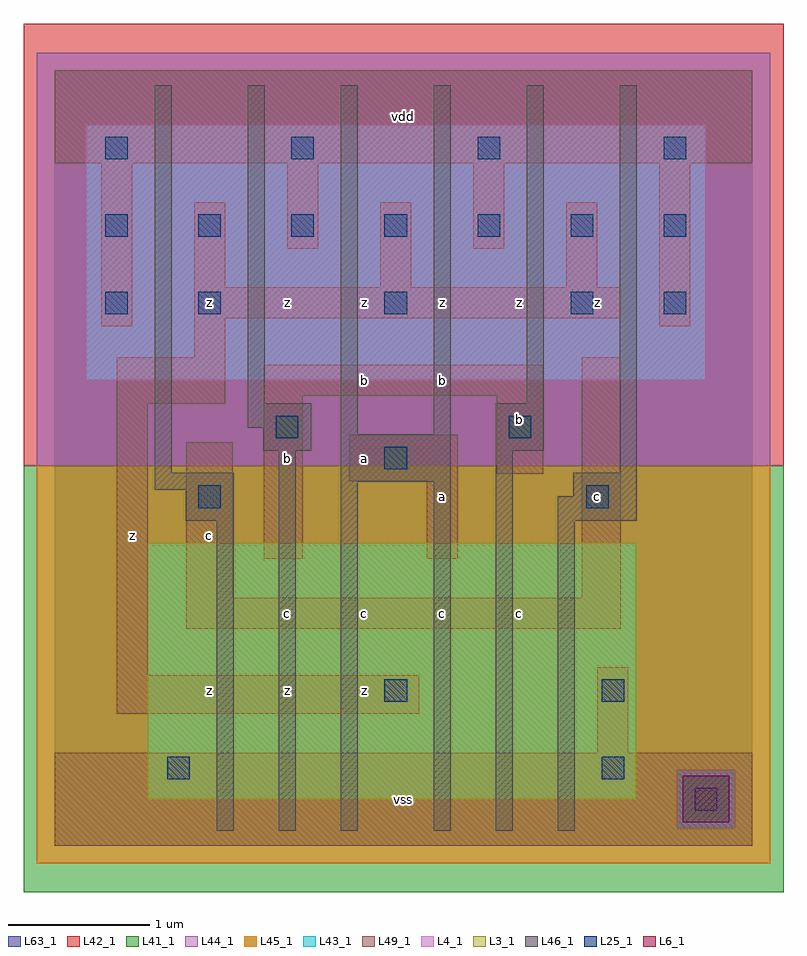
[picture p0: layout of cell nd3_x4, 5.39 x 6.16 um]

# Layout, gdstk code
import gdstk
lib = gdstk.Library(unit=1e-6, precision=1e-09)
def R(c, l, rs):  # rectangles x0, y0, x1, y1
    for r in rs: c.add(gdstk.rectangle(r[:2], r[2:], *l))
def A(c, l, x, y, w, h, nx, ny, dx, dy):  # array of equal rectangles
    R(c, l, [(x+i*dx, y+j*dy, x+i*dx+w, y+j*dy+h) for i in range(nx) for j in range(ny)])
L3_1 = (3, 1)
L4_1 = (4, 1)
L6_1 = (6, 1)
L25_1 = (25, 1)
L41_1 = (41, 1)
L42_1 = (42, 1)
L43_1 = (43, 1)
L44_1 = (44, 1)
L45_1 = (45, 1)
L46_1 = (46, 1)
L49_1 = (49, 1)
L63_1 = (63, 1)

nd3_x4 = lib.new_cell('nd3_x4')
R(nd3_x4, L3_1, [(0.66,0.33,4.125,2.145)])
R(nd3_x4, L4_1, [(0.22,3.3,4.62,5.115)])
R(nd3_x4, L6_1, [(4.455,0.165,4.785,0.495)])
A(nd3_x4, L25_1, 1.02, 3.77, 0.16, 0.16, 3, 1, 1.32, 0)
A(nd3_x4, L25_1, 0.36, 4.32, 0.16, 0.16, 7, 1, 0.66, 0)
A(nd3_x4, L25_1, 0.36, 4.87, 0.16, 0.16, 4, 1, 1.32, 0)
R(nd3_x4, L25_1, [(4.54,0.25,4.7,0.41), (0.8,0.47,0.96,0.63), (3.88,0.47,4.04,0.63), (2.34,1.02,2.5,1.18), (3.88,1.02,4.04,1.18), (1.02,2.395,1.18,2.555), (3.77,2.395,3.93,2.555), (2.34,2.67,2.5,2.83), (1.57,2.89,1.73,3.05), (3.22,2.89,3.38,3.05), (0.36,3.77,0.52,3.93), (4.32,3.77,4.48,3.93)])
R(nd3_x4, L41_1, [(-0.22,-0.33,5.17,2.695)])
R(nd3_x4, L42_1, [(-0.22,2.695,5.17,5.83)])
R(nd3_x4, L43_1, [(4.455,0.165,4.785,0.495), (0.66,0.33,4.125,2.145), (0.22,3.3,4.62,5.115)])
R(nd3_x4, L44_1, [(4.415,0.125,4.825,0.535), (-0.125,2.695,5.075,5.625)])
R(nd3_x4, L45_1, [(-0.125,-0.125,5.075,0.125), (-0.125,0.125,4.415,0.535), (4.825,0.125,5.075,0.535), (-0.125,0.535,5.075,2.695)])
R(nd3_x4, L46_1, [(1.15,0.105,1.27,2.305), (1.59,0.105,1.71,2.8), (2.03,0.105,2.15,2.58), (2.69,0.105,2.81,2.58), (3.13,0.105,3.25,2.8), (3.57,0.105,3.69,2.305), (0.93,2.305,1.27,2.525), (3.57,2.305,4.13,2.48), (3.68,2.48,4.13,2.645), (0.71,2.525,1.27,2.645), (2.03,2.58,2.81,2.92), (0.71,2.645,0.83,5.395), (4.01,2.645,4.13,5.395), (1.48,2.8,1.82,2.965), (3.13,2.8,3.47,3.14), (2.03,2.92,2.15,5.395), (2.69,2.92,2.81,5.395), (1.37,2.965,1.82,3.14), (1.37,3.14,1.49,5.395), (3.35,3.14,3.47,5.395)])
A(nd3_x4, L49_1, 0.99, 3.96, 0.22, 0.605, 3, 1, 1.32, 0)
R(nd3_x4, L49_1, [(0,0,4.95,0.66), (3.85,0.66,4.07,1.265), (0.44,0.935,2.585,1.21), (0.44,1.21,0.66,3.135), (0.935,1.54,4.015,1.76), (0.935,1.76,1.265,2.86), (3.74,1.76,4.015,3.465), (1.485,2.035,1.76,3.19), (2.64,2.035,2.86,2.585), (2.09,2.585,2.86,2.915), (3.135,2.64,3.465,3.19), (0.44,3.135,1.21,3.465), (1.485,3.19,3.465,3.41), (0.99,3.465,1.21,3.74), (0.33,3.685,0.55,4.84), (4.29,3.685,4.51,4.84), (0.99,3.74,4.015,3.96), (1.65,4.235,1.87,4.84), (2.97,4.235,3.19,4.84), (0,4.84,4.95,5.5)])
R(nd3_x4, L63_1, [(0,0,4.95,5.5)])
nd3_x4.add(gdstk.Label('z', (0.55,2.2), layer=49, texttype=1))
nd3_x4.add(gdstk.Label('z', (0.55,2.2), layer=49, texttype=1))
nd3_x4.add(gdstk.Label('z', (1.65,1.1), layer=49, texttype=1))
nd3_x4.add(gdstk.Label('z', (1.65,1.1), layer=49, texttype=1))
nd3_x4.add(gdstk.Label('z', (1.1,1.1), layer=49, texttype=1))
nd3_x4.add(gdstk.Label('z', (1.1,1.1), layer=49, texttype=1))
nd3_x4.add(gdstk.Label('c', (1.65,1.65), layer=49, texttype=1))
nd3_x4.add(gdstk.Label('c', (1.65,1.65), layer=49, texttype=1))
nd3_x4.add(gdstk.Label('c', (1.1,2.2), layer=49, texttype=1))
nd3_x4.add(gdstk.Label('c', (1.1,2.2), layer=49, texttype=1))
nd3_x4.add(gdstk.Label('b', (1.65,2.75), layer=49, texttype=1))
nd3_x4.add(gdstk.Label('b', (1.65,2.75), layer=49, texttype=1))
nd3_x4.add(gdstk.Label('z', (1.1,3.85), layer=49, texttype=1))
nd3_x4.add(gdstk.Label('z', (1.1,3.85), layer=49, texttype=1))
nd3_x4.add(gdstk.Label('z', (1.65,3.85), layer=49, texttype=1))
nd3_x4.add(gdstk.Label('z', (1.65,3.85), layer=49, texttype=1))
nd3_x4.add(gdstk.Label('vss', (2.475,0.33), layer=49, texttype=1))
nd3_x4.add(gdstk.Label('vss', (2.475,0.33), layer=49, texttype=1))
nd3_x4.add(gdstk.Label('z', (2.2,1.1), layer=49, texttype=1))
nd3_x4.add(gdstk.Label('z', (2.2,1.1), layer=49, texttype=1))
nd3_x4.add(gdstk.Label('c', (2.75,1.65), layer=49, texttype=1))
nd3_x4.add(gdstk.Label('c', (2.2,1.65), layer=49, texttype=1))
nd3_x4.add(gdstk.Label('c', (2.2,1.65), layer=49, texttype=1))
nd3_x4.add(gdstk.Label('c', (2.75,1.65), layer=49, texttype=1))
nd3_x4.add(gdstk.Label('a', (2.75,2.475), layer=49, texttype=1))
nd3_x4.add(gdstk.Label('a', (2.2,2.75), layer=49, texttype=1))
nd3_x4.add(gdstk.Label('a', (2.2,2.75), layer=49, texttype=1))
nd3_x4.add(gdstk.Label('a', (2.75,2.475), layer=49, texttype=1))
nd3_x4.add(gdstk.Label('b', (2.2,3.3), layer=49, texttype=1))
nd3_x4.add(gdstk.Label('b', (2.75,3.3), layer=49, texttype=1))
nd3_x4.add(gdstk.Label('b', (2.2,3.3), layer=49, texttype=1))
nd3_x4.add(gdstk.Label('b', (2.75,3.3), layer=49, texttype=1))
nd3_x4.add(gdstk.Label('z', (2.75,3.85), layer=49, texttype=1))
nd3_x4.add(gdstk.Label('z', (2.2,3.85), layer=49, texttype=1))
nd3_x4.add(gdstk.Label('z', (2.2,3.85), layer=49, texttype=1))
nd3_x4.add(gdstk.Label('z', (2.75,3.85), layer=49, texttype=1))
nd3_x4.add(gdstk.Label('vdd', (2.475,5.17), layer=49, texttype=1))
nd3_x4.add(gdstk.Label('vdd', (2.475,5.17), layer=49, texttype=1))
nd3_x4.add(gdstk.Label('c', (3.3,1.65), layer=49, texttype=1))
nd3_x4.add(gdstk.Label('c', (3.3,1.65), layer=49, texttype=1))
nd3_x4.add(gdstk.Label('c', (3.85,2.475), layer=49, texttype=1))
nd3_x4.add(gdstk.Label('b', (3.3,3.025), layer=49, texttype=1))
nd3_x4.add(gdstk.Label('c', (3.85,2.475), layer=49, texttype=1))
nd3_x4.add(gdstk.Label('b', (3.3,3.025), layer=49, texttype=1))
nd3_x4.add(gdstk.Label('z', (3.85,3.85), layer=49, texttype=1))
nd3_x4.add(gdstk.Label('z', (3.3,3.85), layer=49, texttype=1))
nd3_x4.add(gdstk.Label('z', (3.3,3.85), layer=49, texttype=1))
nd3_x4.add(gdstk.Label('z', (3.85,3.85), layer=49, texttype=1))

lib.write_gds('nd3_x4.gds')
